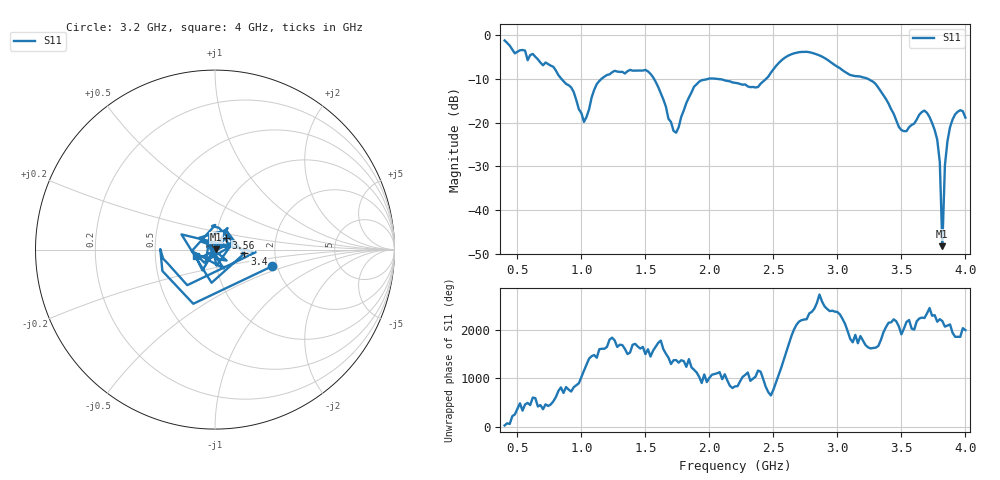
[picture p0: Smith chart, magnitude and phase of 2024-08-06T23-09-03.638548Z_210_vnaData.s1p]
!Created with skrf (http://scikit-rf.org).
# Hz S RI R 50.0
!freq ReS11 ImS11
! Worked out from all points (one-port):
!   181 points, 400 MHz to 4 GHz, reference 50 ohm
!   lowest |S11| = -48.2 dB at 3.82 GHz (marker M1), VSWR 1.01, Z = 50.3 + j0.169 ohm
!   |S11| at or under -10 dB: 1.568 GHz to 1.988 GHz (420.1 MHz wide, 23.6 % of centre); 2.067 GHz to 2.442 GHz (374.7 MHz wide, 16.6 % of centre); 3.24 GHz to end of sweep (the widest 3 of 4)
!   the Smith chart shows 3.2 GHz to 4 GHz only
!   S11 on the Smith chart (normalised r, x): 3.2 GHz: 1.87, -0.39; 3.4 GHz: 1.39, -0.06; 3.56 GHz: 1.12, +0.15; 4 GHz: 0.80, -0.06
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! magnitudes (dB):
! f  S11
! 400 MHz  -1.2
! 860 MHz  -10.5
! 940 MHz  -13.0
! 1.02 GHz  -19.8
! 1.12 GHz  -11.2
! 1.3 GHz  -8.4
! 1.52 GHz  -8.3
! 1.6 GHz  -11.8
! 1.72 GHz  -21.9
! 1.76 GHz  -21.0
! 1.92 GHz  -10.6
! 2.2 GHz  -10.9
! 2.38 GHz  -11.8
! 2.66 GHz  -4.1
! 2.86 GHz  -4.6
! 3.1 GHz  -9.1
! 3.2 GHz  -9.6
! 3.4 GHz  -15.7
! 3.5 GHz  -21.7
! 3.56 GHz  -21.0
! 3.68 GHz  -17.2
! 3.76 GHz  -21.7
! 3.8 GHz  -29.0
! 3.82 GHz  -48.2
! 3.84 GHz  -29.7
! 3.86 GHz  -24.2
! 3.92 GHz  -18.1
! 4 GHz  -18.8
